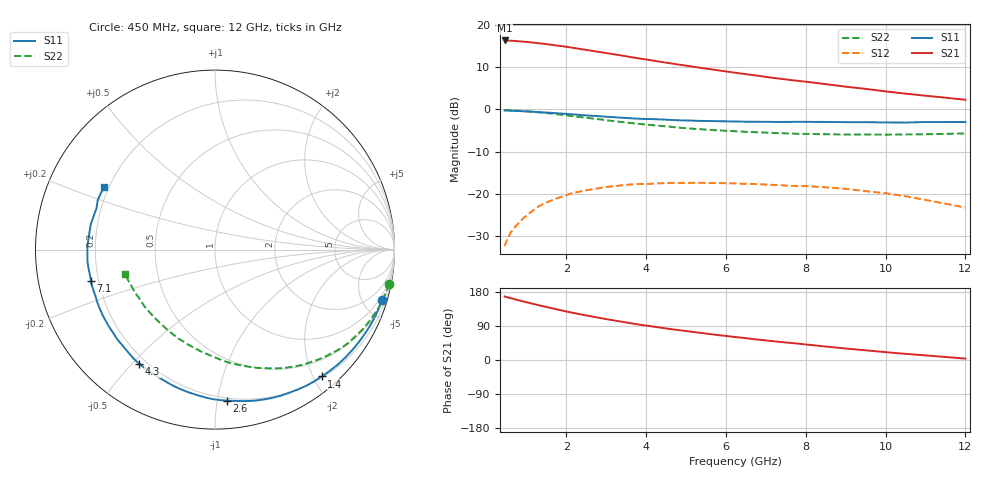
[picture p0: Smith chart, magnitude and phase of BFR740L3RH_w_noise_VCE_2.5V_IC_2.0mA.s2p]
! (c) 2012  Infineon Technologies AG, Munich
! Infineon Technologies  Discrete & RF Semiconductors
! BFR740L3RH
! VCE =  2.5 V,  IC =  2.0 mA
! Common Emitter S-Parameters:  May 2012
# GHz  S  MA  R  50
!  f  S11  S21  S12  S22
! GHz  MAG  ANG  MAG  ANG  MAG  ANG  MAG  ANG
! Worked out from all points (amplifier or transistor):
!   85 points, 450 MHz to 12 GHz, reference 50 ohm
!   highest |S21| = 16.4 dB at 450 MHz (marker M1)
!   |S21| within 3 dB of that: start of sweep to 3.004 GHz
!   unconditionally stable (mu >= 1): 10.11 GHz to end of sweep
!   at 1.8 GHz: K = 0.10, MSG = 18.1 dB, |S12| = -21.0 dB
!   at 4.6 GHz: K = 0.27, MSG = 14.2 dB, |S12| = -17.4 dB
!   at 12 GHz: K = 1.79, MAG = 7.7 dB, |S12| = -23.3 dB
!   lowest NFmin = 0.30 dB at 450 MHz
!   S11 on the Smith chart (normalised r, x): 450 MHz: 0.63, -6.71; 1.4 GHz: 0.22, -2.13; 2.6 GHz: 0.18, -1.07; 4.3 GHz: 0.17, -0.52; 7.1 GHz: 0.17, -0.12; 12 GHz: 0.18, +0.26
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0.45  0.9731 -16.8  6.6 167.7  0.0238 82.4  0.9896 -11.2
0.7  0.9628 -25.9  6.511 160.4  0.0397 71.7  0.9737 -17.2
0.9  0.9526 -32.9  6.395 155.0  0.0501 67.9  0.9591 -21.8
1.2  0.9369 -43.2  6.2 147.3  0.0651 60.8  0.9344 -28.5
1.4  0.9241 -49.9  6.049 142.2  0.0748 56.6  0.9146 -32.9
1.7  0.9055 -59.5  5.801 135.1  0.0858 50.2  0.8844 -39.2
2  0.8856 -68.9  5.547 128.0  0.0961 43.9  0.8504 -45.1
2.4  0.856 -80.3  5.181 119.5  0.1074 36.9  0.8077 -52.5
2.6  0.844 -85.5  5.009 115.6  0.1119 33.5  0.786 -55.9
3  0.8201 -95.7  4.676 107.9  0.1199 27.3  0.7464 -62.4
3.6  0.7869 -109.6  4.199 97.2  0.1285 18.0  0.6918 -71.7
3.9  0.7735 -115.9  3.986 92.3  0.1304 14.1  0.6682 -75.9
4.3  0.7632 -123.5  3.718 86.3  0.1326 9.5  0.6415 -81.3
4.7  0.748 -130.9  3.476 80.4  0.1345 4.8  0.617 -86.5
5.1  0.7387 -137.7  3.259 74.9  0.1341 0.1  0.594 -91.6
5.8  0.7257 -148.5  2.915 65.8  0.1334 -6.9  0.5648 -100.2
6.3  0.7191 -155.4  2.704 59.8  0.1319 -11.6  0.5494 -106.0
7.1  0.7127 -165.8  2.399 50.5  0.1277 -18.9  0.5285 -115.5
8.5  0.7111 178.2  2 35.5  0.119 -31.2  0.5077 -131.2
9.5  0.7063 168.7  1.757 25.6  0.1072 -40.5  0.5045 -141.8
10.5  0.6992 160.7  1.542 16.2  0.0932 -48.5  0.5054 -151.6
12  0.7104 150.4  1.303 3.7  0.0683 -57.3  0.5194 -165.1
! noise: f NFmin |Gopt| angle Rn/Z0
0.45  0.3  0.73  4  0.25
0.9  0.33  0.7  17  0.24
1.5  0.38  0.66  30  0.23
1.9  0.42  0.66  38  0.22
2.4  0.48  0.64  47  0.21
3.5  0.61  0.6  68  0.19
5.5  0.87  0.65  98  0.16
8  1.18  0.59  137  0.09
10  1.42  0.62  161  0.04
12  1.65  0.69  -163  0.04
